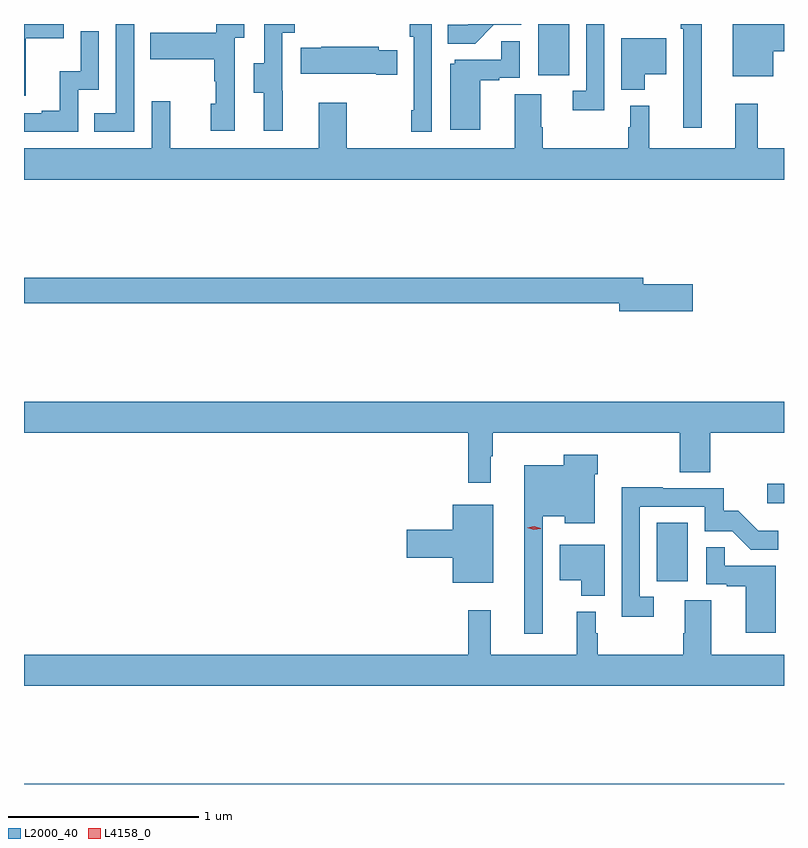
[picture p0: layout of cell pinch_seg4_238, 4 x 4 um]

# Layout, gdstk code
import gdstk
lib = gdstk.Library(unit=1e-6, precision=1e-09)
def R(c, l, rs):  # rectangles x0, y0, x1, y1
    for r in rs: c.add(gdstk.rectangle(r[:2], r[2:], *l))
def P(c, l, *ps):  # polygons
    for p in ps: c.add(gdstk.Polygon(p, *l))
L2000_40 = (2000, 40)
L4158_0 = (4158, 0)

pinch_seg4_238 = lib.new_cell('pinch_seg4_238')
R(pinch_seg4_238, L2000_40, [(909.686,813.619,913.686,813.62), (913.016,814.686,913.18,814.993), (913.599,815.096,913.686,815.198), (912.392,817.35,912.556,817.619)])
P(pinch_seg4_238, L2000_40, [(909.695,817.545),(909.894,817.545),(909.894,817.619),(909.686,817.619),(909.686,817.242),(909.695,817.242)],
  [(912.741,817.619),(912.645,817.619),(912.645,817.269),(912.573,817.269),(912.573,817.164),(912.741,817.164)],
  [(913.63,817.475),(913.686,817.475),(913.686,817.619),(913.415,817.619),(913.415,817.343),(913.63,817.343)],
  [(912.159,817.614),(912.303,817.614),(912.303,817.619),(912.025,817.619),(912.021,817.615),(911.917,817.615),(911.917,817.516),(912.061,817.516)],
  [(913.252,817.619),(913.143,817.619),(913.143,817.595),(913.155,817.595),(913.155,817.074),(913.252,817.074)],
  [(910.794,817.547),(910.846,817.547),(910.846,817.619),(910.698,817.619),(910.698,817.573),(910.351,817.573),(910.351,817.433),(910.686,817.433),(910.686,817.319),(910.696,817.319),(910.696,817.2),(910.67,817.2),(910.67,817.056),(910.794,817.056)],
  [(911.048,817.269),(911.046,817.269),(911.046,817.573),(911.11,817.573),(911.11,817.619),(910.95,817.619),(910.95,817.413),(910.895,817.413),(910.895,817.258),(910.949,817.258),(910.949,817.056),(911.048,817.056)],
  [(910.266,817.619),(910.17,817.619),(910.17,817.149),(910.057,817.149),(910.057,817.053),(910.266,817.053)],
  [(911.832,817.619),(911.716,817.619),(911.716,817.553),(911.736,817.553),(911.736,817.165),(911.724,817.165),(911.724,817.053),(911.832,817.053)],
  [(909.972,817.272),(910.08,817.272),(910.08,817.582),(909.984,817.582),(909.984,817.37),(909.875,817.37),(909.875,817.162),(909.779,817.162),(909.779,817.149),(909.686,817.149),(909.686,817.053),(909.972,817.053)],
  [(912.952,817.355),(913.066,817.355),(913.066,817.543),(912.83,817.543),(912.83,817.274),(912.952,817.274)],
  [(912.088,817.323),(912.188,817.323),(912.188,817.335),(912.294,817.335),(912.294,817.529),(912.199,817.529),(912.199,817.431),(911.952,817.431),(911.952,817.41),(911.93,817.41),(911.93,817.062),(912.088,817.062)],
  [(911.651,817.48),(911.553,817.48),(911.553,817.498),(911.251,817.498),(911.251,817.495),(911.143,817.495),(911.143,817.358),(911.54,817.358),(911.54,817.351),(911.651,817.351)],
  [(911.237,817.204),(911.237,816.964),(910.457,816.964),(910.457,817.213),(910.359,817.213),(910.359,816.964),(909.686,816.964),(909.686,816.8),(913.686,816.8),(913.686,816.964),(913.547,816.964),(913.547,817.198),(913.43,817.198),(913.43,816.964),(912.977,816.964),(912.977,817.189),(912.878,817.189),(912.878,817.076),(912.867,817.076),(912.867,816.964),(912.417,816.964),(912.417,817.076),(912.409,817.076),(912.409,817.25),(912.269,817.25),(912.269,816.964),(911.385,816.964),(911.385,817.204)],
  [(913.207,816.248),(912.946,816.248),(912.946,816.284),(909.686,816.284),(909.686,816.148),(912.818,816.148),(912.818,816.106),(913.207,816.106)],
  [(912.142,815.345),(912.154,815.345),(912.154,815.468),(913.138,815.468),(913.138,815.26),(913.298,815.26),(913.298,815.468),(913.686,815.468),(913.686,815.632),(909.686,815.632),(909.686,815.468),(912.025,815.468),(912.025,815.205),(912.142,815.205)],
  [(912.417,815.027),(912.533,815.027),(912.533,814.991),(912.691,814.991),(912.691,815.249),(912.705,815.249),(912.705,815.353),(912.526,815.353),(912.526,815.296),(912.32,815.296),(912.32,814.41),(912.417,814.41)],
  [(913,814.605),(912.927,814.605),(912.927,815.079),(913.269,815.079),(913.269,814.95),(913.413,814.95),(913.511,814.852),(913.655,814.852),(913.655,814.951),(913.551,814.951),(913.444,815.058),(913.368,815.058),(913.368,815.175),(913.049,815.175),(913.049,815.18),(912.831,815.18),(912.831,814.5),(913,814.5)],
  [(912.157,815.089),(911.942,815.089),(911.942,814.958),(911.7,814.958),(911.7,814.811),(911.942,814.811),(911.942,814.679),(912.157,814.679)],
  [(912.742,814.879),(912.506,814.879),(912.506,814.691),(912.62,814.691),(912.62,814.61),(912.742,814.61)],
  [(913.642,814.767),(913.373,814.767),(913.373,814.865),(913.278,814.865),(913.278,814.671),(913.385,814.671),(913.385,814.659),(913.484,814.659),(913.484,814.416),(913.642,814.416)],
  [(913.686,814.3),(913.303,814.3),(913.303,814.586),(913.163,814.586),(913.163,814.412),(913.156,814.412),(913.156,814.3),(912.706,814.3),(912.706,814.412),(912.694,814.412),(912.694,814.525),(912.596,814.525),(912.596,814.3),(912.143,814.3),(912.143,814.534),(912.025,814.534),(912.025,814.3),(909.686,814.3),(909.686,814.136),(913.686,814.136)])
P(pinch_seg4_238, L4158_0, [(912.37,814.956),(912.335,814.968),(912.335,814.968),(912.335,814.969),(912.372,814.976),(912.406,814.964),(912.406,814.963),(912.406,814.963)])

lib.write_gds('pinch_seg4_238.gds')
